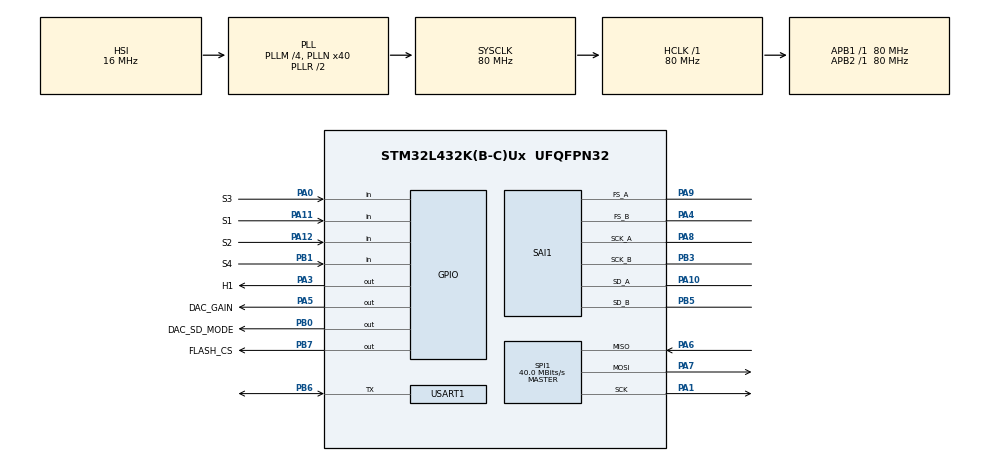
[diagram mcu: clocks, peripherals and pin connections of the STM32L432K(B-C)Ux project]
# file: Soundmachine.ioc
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Dma.Request0=SPI1_RX
Dma.Request1=SAI1_A
Dma.Request2=SAI1_B
Dma.Request3=SPI1_TX
Dma.SAI1_A.1.Direction=DMA_MEMORY_TO_PERIPH
Dma.SAI1_A.1.Instance=DMA2_Channel1
Dma.SAI1_A.1.MemDataAlignment=DMA_MDATAALIGN_WORD
Dma.SAI1_A.1.MemInc=DMA_MINC_ENABLE
Dma.SAI1_A.1.Mode=DMA_NORMAL
Dma.SAI1_A.1.PeriphDataAlignment=DMA_PDATAALIGN_WORD
Dma.SAI1_A.1.PeriphInc=DMA_PINC_DISABLE
Dma.SAI1_A.1.Priority=DMA_PRIORITY_LOW
Dma.SAI1_B.2.Direction=DMA_MEMORY_TO_PERIPH
Dma.SAI1_B.2.Instance=DMA2_Channel2
Dma.SAI1_B.2.MemDataAlignment=DMA_MDATAALIGN_WORD
Dma.SAI1_B.2.MemInc=DMA_MINC_ENABLE
Dma.SAI1_B.2.Mode=DMA_NORMAL
Dma.SAI1_B.2.PeriphDataAlignment=DMA_PDATAALIGN_WORD
Dma.SAI1_B.2.PeriphInc=DMA_PINC_DISABLE
Dma.SAI1_B.2.Priority=DMA_PRIORITY_LOW
Dma.SPI1_RX.0.Direction=DMA_PERIPH_TO_MEMORY
Dma.SPI1_RX.0.Instance=DMA1_Channel2
Dma.SPI1_RX.0.MemDataAlignment=DMA_MDATAALIGN_BYTE
Dma.SPI1_RX.0.MemInc=DMA_MINC_ENABLE
Dma.SPI1_RX.0.Mode=DMA_NORMAL
Dma.SPI1_RX.0.PeriphDataAlignment=DMA_PDATAALIGN_BYTE
Dma.SPI1_RX.0.PeriphInc=DMA_PINC_DISABLE
Dma.SPI1_RX.0.Priority=DMA_PRIORITY_LOW
Dma.SPI1_TX.3.Direction=DMA_MEMORY_TO_PERIPH
Dma.SPI1_TX.3.Instance=DMA1_Channel3
Dma.SPI1_TX.3.MemDataAlignment=DMA_MDATAALIGN_BYTE
Dma.SPI1_TX.3.MemInc=DMA_MINC_ENABLE
Dma.SPI1_TX.3.Mode=DMA_NORMAL
Dma.SPI1_TX.3.PeriphDataAlignment=DMA_PDATAALIGN_BYTE
Dma.SPI1_TX.3.PeriphInc=DMA_PINC_DISABLE
Dma.SPI1_TX.3.Priority=DMA_PRIORITY_LOW
Mcu.Family=STM32L4
Mcu.Name=STM32L432K(B-C)Ux
Mcu.Package=UFQFPN32
NVIC.DMA1_Channel2_IRQn=true\:0\:0\:false\:false\:true\:false\:true
NVIC.DMA1_Channel3_IRQn=true\:0\:0\:false\:false\:true\:false\:true
NVIC.DMA2_Channel1_IRQn=true\:0\:0\:false\:false\:true\:false\:true
NVIC.DMA2_Channel2_IRQn=true\:0\:0\:false\:false\:true\:false\:true
NVIC.PriorityGroup=NVIC_PRIORITYGROUP_4
NVIC.TIM2_IRQn=true\:0\:0\:false\:false\:true\:true\:true
PA0.GPIO_Label=S3
PA0.Signal=GPIO_Input
PA1.Mode=Full_Duplex_Master
PA1.Signal=SPI1_SCK
PA10.Mode=SAI_A_Master
PA10.Signal=SAI1_SD_A
PA11.GPIO_Label=S1
PA11.Signal=GPIO_Input
PA12.GPIO_Label=S2
PA12.Signal=GPIO_Input
PA13\ (JTMS-SWDIO).GPIO_Label=SWDIO
PA13\ (JTMS-SWDIO).Mode=Serial_Wire
PA13\ (JTMS-SWDIO).Signal=SYS_JTMS-SWDIO
PA14\ (JTCK-SWCLK).GPIO_Label=SWCLK
PA14\ (JTCK-SWCLK).Mode=Serial_Wire
PA14\ (JTCK-SWCLK).Signal=SYS_JTCK-SWCLK
PA2.Mode=SYS_WakeUp3
PA2.Signal=SYS_WKUP4
PA3.GPIO_Label=H1
PA3.Signal=GPIO_Output
PA4.Mode=SAI_B_Master
PA4.Signal=SAI1_FS_B
PA5.GPIO_Label=DAC_GAIN
PA5.Signal=GPIO_Output
PA6.Mode=Full_Duplex_Master
PA6.Signal=SPI1_MISO
PA7.Mode=Full_Duplex_Master
PA7.Signal=SPI1_MOSI
PA8.Mode=SAI_A_Master
PA8.Signal=SAI1_SCK_A
PA9.Mode=SAI_A_Master
PA9.Signal=SAI1_FS_A
PB0.GPIO_Label=DAC_SD_MODE
PB0.Signal=GPIO_Output
PB1.GPIO_Label=S4
PB1.Signal=GPIO_Input
PB3\ (JTDO-TRACESWO).Mode=SAI_B_Master
PB3\ (JTDO-TRACESWO).Signal=SAI1_SCK_B
PB5.Mode=SAI_B_Master
PB5.Signal=SAI1_SD_B
PB6.Mode=Half_duplex(single_wire_mode)
PB6.Signal=USART1_TX
PB7.GPIO_Label=FLASH_CS
PB7.Signal=GPIO_Output
ProjectManager.HeapSize=0x200
ProjectManager.StackSize=0x400
ProjectManager.TargetToolchain=MDK-ARM V5.27
RCC.ADCFreq_Value=82000000
RCC.AHBFreq_Value=80000000
RCC.APB1Freq_Value=80000000
RCC.APB1TimFreq_Value=80000000
RCC.APB2Freq_Value=80000000
RCC.APB2TimFreq_Value=80000000
RCC.CortexFreq_Value=80000000
RCC.HCLKFreq_Value=80000000
RCC.HSE_VALUE=12000000
RCC.HSI16_VALUE=16000000
RCC.HSI48_VALUE=48000000
RCC.HSI_VALUE=16000000
RCC.MSIClockRange=RCC_MSIRANGE_10
RCC.MSI_VALUE=32000000
RCC.PLLM=4
RCC.PLLMUL=RCC_PLLMUL_4
RCC.PLLN=40
RCC.PLLSAI1N=41
RCC.PLLSAI1P=RCC_PLLP_DIV4
RCC.PLLSourceVirtual=RCC_PLLSOURCE_HSI
RCC.SYSCLKFreq_VALUE=80000000
RCC.SYSCLKSource=RCC_SYSCLKSOURCE_PLLCLK
RCC.USBFreq_Value=82000000
RCC.VCOOutputFreq_Value=160000000
SAI1.AudioFrequency-SAI_A_Master=SAI_AUDIO_FREQUENCY_32K
SAI1.ErrorAudioFreq-SAI_A_Master=25.12 %
SAI1.ErrorAudioFreq-SAI_B_Master=-16.58 %
SAI1.InitProtocol-SAI_A_Master=Enable
SAI1.InitProtocol-SAI_B_Master=Enable
SAI1.Instance-SAI_A_Master=SAI$Index_Block_A
SAI1.Instance-SAI_B_Master=SAI$Index_Block_B
SAI1.MClockEnable-SAI_A_Master=SAI_MASTERCLOCK_DISABLE
SAI1.MClockEnable-SAI_B_Master=SAI_MASTERCLOCK_DISABLE
SAI1.RealAudioFreq-SAI_A_Master=40.039 KHz
SAI1.RealAudioFreq-SAI_B_Master=160.156 KHz
SAI1.VirtualMode-SAI_A_Master=VM_MASTER
SAI1.VirtualMode-SAI_B_Master=VM_MASTER
SAI1.VirtualProtocol-SAI_A_BASIC=VM_BASIC_PROTOCOL
SAI1.VirtualProtocol-SAI_B_BASIC=VM_BASIC_PROTOCOL
SPI1.CalculateBaudRate=40.0 MBits/s
SPI1.Direction=SPI_DIRECTION_2LINES
SPI1.Mode=SPI_MODE_MASTER
SPI1.VirtualType=VM_MASTER
TIM2.Period=1000
USART1.VirtualMode-Half_duplex(single_wire_mode)=VM_ASYNC
VP_CRC_VS_CRC.Mode=CRC_Activate
VP_SAI1_VP_$IpInstance_SAIA_SAI_BASIC.Mode=SAI_A_BASIC
VP_SAI1_VP_$IpInstance_SAIB_SAI_BASIC.Mode=SAI_B_BASIC
VP_TIM2_VS_ClockSourceINT.Mode=Internal
board=NUCLEO-L432KC

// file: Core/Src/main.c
/* USER CODE BEGIN Header */
/**
  ******************************************************************************
  * @file           : main.c
  * @brief          : Main program body
  ******************************************************************************
  * @attention
  *
  * <h2><center>&copy; Copyright (c) 2021 STMicroelectronics.
  * All rights reserved.</center></h2>
  *
  * This software component is licensed by ST under BSD 3-Clause license,
  * the "License"; You may not use this file except in compliance with the
  * License. You may obtain a copy of the License at:
  *                        opensource.org/licenses/BSD-3-Clause
  *
  ******************************************************************************
  */
/* USER CODE END Header */
#include "main.h"

/* USER CODE BEGIN Includes */
#include "audio.h"
#include "flash.h"
#include "pdm2pcm_glo.h"
/* USER CODE END Includes */

CRC_HandleTypeDef hcrc;

SAI_HandleTypeDef hsai_BlockA1;
SAI_HandleTypeDef hsai_BlockB1;
DMA_HandleTypeDef hdma_sai1_a;
DMA_HandleTypeDef hdma_sai1_b;

SPI_HandleTypeDef hspi1;
DMA_HandleTypeDef hdma_spi1_rx;
DMA_HandleTypeDef hdma_spi1_tx;

TIM_HandleTypeDef htim2;

UART_HandleTypeDef huart1;

/* USER CODE BEGIN PV */
//record
uint8_t pdmbuffer[PDMBUFFERSIZE];
uint8_t pdmtestbuffer[PDMBUFFERSIZE];
uint16_t pcmbuffer[PCMBUFFERSIZE];
uint8_t PDMBufferReady;
uint8_t PDMReadyBufferIndex;
uint8_t PCMBufferReady;
uint8_t PCMReadyBufferIndex;
PDM_Filter_Handler_t FilterHandler;
uint8_t MicWokeUp;

//flash
uint8_t FlashWriteBuffer[2*FLASHPAGESIZE]; //pseudo double buffer
uint32_t FlashWriteBufferIndex;
uint8_t WriteDoubleBufferIndex;
uint8_t FlashReadBuffer[2*FLASHPAGESIZE]; //pseudo double buffer
uint16_t FlashReadBufferIndex;
uint8_t ReadDoubleBufferIndex;
/* USER CODE END PV */

void SystemClock_Config(void);
static void MX_GPIO_Init(void);
static void MX_DMA_Init(void);
static void MX_SAI1_Init(void);
static void MX_TIM2_Init(void);
static void MX_SPI1_Init(void);
static void MX_CRC_Init(void);
static void MX_USART1_UART_Init(void);

int main(void)
{

  /* MCU Configuration--------------------------------------------------------*/

  /* Reset of all peripherals, Initializes the Flash interface and the Systick. */
  HAL_Init();

  /* USER CODE BEGIN Init */
	uint8_t ChannelIndex = 1;

  /* USER CODE END Init */

  /* Configure the system clock */
  SystemClock_Config();

  /* Initialize all configured peripherals */
  MX_GPIO_Init();
  MX_DMA_Init();
  MX_SAI1_Init();
  MX_TIM2_Init();
  MX_SPI1_Init();
  MX_CRC_Init();
  MX_USART1_UART_Init();
  /* USER CODE BEGIN 2 */
	//Init Flash-Pins
	HAL_GPIO_WritePin(FLASH_CS_GPIO_Port, FLASH_CS_Pin, GPIO_PIN_SET);

	//FlashTest();

  /* USER CODE END 2 */

  /* Infinite loop */
  while (1)
  {

    /* USER CODE BEGIN 3 */
		AudioRecord(ChannelIndex);

		HAL_Delay(1000);

		//SendAudioData(ChannelIndex);
		AudioPlay(ChannelIndex);

		HAL_Delay(1000);

		ChannelIndex++;

		if (ChannelIndex >= 5){
			ChannelIndex = 1;
		}
  }
  /* USER CODE END 3 */
}

void SystemClock_Config(void)
{
  RCC_OscInitTypeDef RCC_OscInitStruct = {0};
  RCC_ClkInitTypeDef RCC_ClkInitStruct = {0};
  RCC_PeriphCLKInitTypeDef PeriphClkInit = {0};

  /** Initializes the RCC Oscillators according to the specified parameters
  * in the RCC_OscInitTypeDef structure.
  */
  RCC_OscInitStruct.OscillatorType = RCC_OSCILLATORTYPE_HSI;
  RCC_OscInitStruct.HSIState = RCC_HSI_ON;
  RCC_OscInitStruct.HSICalibrationValue = RCC_HSICALIBRATION_DEFAULT;
  RCC_OscInitStruct.PLL.PLLState = RCC_PLL_ON;
  RCC_OscInitStruct.PLL.PLLSource = RCC_PLLSOURCE_HSI;
  RCC_OscInitStruct.PLL.PLLM = 4;
  RCC_OscInitStruct.PLL.PLLN = 40;
  RCC_OscInitStruct.PLL.PLLP = RCC_PLLP_DIV7;
  RCC_OscInitStruct.PLL.PLLQ = RCC_PLLQ_DIV2;
  RCC_OscInitStruct.PLL.PLLR = RCC_PLLR_DIV2;
  if (HAL_RCC_OscConfig(&RCC_OscInitStruct) != HAL_OK)
  {
    Error_Handler();
  }
  /** Initializes the CPU, AHB and APB buses clocks
  */
  RCC_ClkInitStruct.ClockType = RCC_CLOCKTYPE_HCLK|RCC_CLOCKTYPE_SYSCLK
                              |RCC_CLOCKTYPE_PCLK1|RCC_CLOCKTYPE_PCLK2;
  RCC_ClkInitStruct.SYSCLKSource = RCC_SYSCLKSOURCE_PLLCLK;
  RCC_ClkInitStruct.AHBCLKDivider = RCC_SYSCLK_DIV1;
  RCC_ClkInitStruct.APB1CLKDivider = RCC_HCLK_DIV1;
  RCC_ClkInitStruct.APB2CLKDivider = RCC_HCLK_DIV1;

  if (HAL_RCC_ClockConfig(&RCC_ClkInitStruct, FLASH_LATENCY_4) != HAL_OK)
  {
    Error_Handler();
  }
  PeriphClkInit.PeriphClockSelection = RCC_PERIPHCLK_USART1|RCC_PERIPHCLK_SAI1;
  PeriphClkInit.Usart1ClockSelection = RCC_USART1CLKSOURCE_PCLK2;
  PeriphClkInit.Sai1ClockSelection = RCC_SAI1CLKSOURCE_PLLSAI1;
  PeriphClkInit.PLLSAI1.PLLSAI1Source = RCC_PLLSOURCE_HSI;
  PeriphClkInit.PLLSAI1.PLLSAI1M = 4;
  PeriphClkInit.PLLSAI1.PLLSAI1N = 41;
  PeriphClkInit.PLLSAI1.PLLSAI1P = RCC_PLLP_DIV4;
  PeriphClkInit.PLLSAI1.PLLSAI1Q = RCC_PLLQ_DIV2;
  PeriphClkInit.PLLSAI1.PLLSAI1R = RCC_PLLR_DIV2;
  PeriphClkInit.PLLSAI1.PLLSAI1ClockOut = RCC_PLLSAI1_SAI1CLK;
  if (HAL_RCCEx_PeriphCLKConfig(&PeriphClkInit) != HAL_OK)
  {
    Error_Handler();
  }
  /** Configure the main internal regulator output voltage
  */
  if (HAL_PWREx_ControlVoltageScaling(PWR_REGULATOR_VOLTAGE_SCALE1) != HAL_OK)
  {
    Error_Handler();
  }
}

static void MX_CRC_Init(void)
{

  hcrc.Instance = CRC;
  hcrc.Init.DefaultPolynomialUse = DEFAULT_POLYNOMIAL_ENABLE;
  hcrc.Init.DefaultInitValueUse = DEFAULT_INIT_VALUE_ENABLE;
  hcrc.Init.InputDataInversionMode = CRC_INPUTDATA_INVERSION_NONE;
  hcrc.Init.OutputDataInversionMode = CRC_OUTPUTDATA_INVERSION_DISABLE;
  hcrc.InputDataFormat = CRC_INPUTDATA_FORMAT_BYTES;
  if (HAL_CRC_Init(&hcrc) != HAL_OK)
  {
    Error_Handler();
  }

}

static void MX_SAI1_Init(void)
{

  hsai_BlockA1.Instance = SAI1_Block_A;
  hsai_BlockA1.Init.AudioMode = SAI_MODEMASTER_TX;
  hsai_BlockA1.Init.Synchro = SAI_ASYNCHRONOUS;
  hsai_BlockA1.Init.OutputDrive = SAI_OUTPUTDRIVE_DISABLE;
  hsai_BlockA1.Init.NoDivider = SAI_MASTERDIVIDER_ENABLE;
  hsai_BlockA1.Init.FIFOThreshold = SAI_FIFOTHRESHOLD_EMPTY;
  hsai_BlockA1.Init.AudioFrequency = SAI_AUDIO_FREQUENCY_32K;
  hsai_BlockA1.Init.SynchroExt = SAI_SYNCEXT_DISABLE;
  hsai_BlockA1.Init.MonoStereoMode = SAI_STEREOMODE;
  hsai_BlockA1.Init.CompandingMode = SAI_NOCOMPANDING;
  hsai_BlockA1.Init.TriState = SAI_OUTPUT_NOTRELEASED;
  if (HAL_SAI_InitProtocol(&hsai_BlockA1, SAI_I2S_STANDARD, SAI_PROTOCOL_DATASIZE_16BIT, 2) != HAL_OK)
  {
    Error_Handler();
  }
  hsai_BlockB1.Instance = SAI1_Block_B;
  hsai_BlockB1.Init.AudioMode = SAI_MODEMASTER_TX;
  hsai_BlockB1.Init.Synchro = SAI_ASYNCHRONOUS;
  hsai_BlockB1.Init.OutputDrive = SAI_OUTPUTDRIVE_DISABLE;
  hsai_BlockB1.Init.NoDivider = SAI_MASTERDIVIDER_ENABLE;
  hsai_BlockB1.Init.FIFOThreshold = SAI_FIFOTHRESHOLD_EMPTY;
  hsai_BlockB1.Init.AudioFrequency = SAI_AUDIO_FREQUENCY_192K;
  hsai_BlockB1.Init.SynchroExt = SAI_SYNCEXT_DISABLE;
  hsai_BlockB1.Init.MonoStereoMode = SAI_STEREOMODE;
  hsai_BlockB1.Init.CompandingMode = SAI_NOCOMPANDING;
  hsai_BlockB1.Init.TriState = SAI_OUTPUT_NOTRELEASED;
  if (HAL_SAI_InitProtocol(&hsai_BlockB1, SAI_I2S_STANDARD, SAI_PROTOCOL_DATASIZE_16BIT, 2) != HAL_OK)
  {
    Error_Handler();
  }

}

static void MX_SPI1_Init(void)
{

  /* SPI1 parameter configuration*/
  hspi1.Instance = SPI1;
  hspi1.Init.Mode = SPI_MODE_MASTER;
  hspi1.Init.Direction = SPI_DIRECTION_2LINES;
  hspi1.Init.DataSize = SPI_DATASIZE_4BIT;
  hspi1.Init.CLKPolarity = SPI_POLARITY_LOW;
  hspi1.Init.CLKPhase = SPI_PHASE_1EDGE;
  hspi1.Init.NSS = SPI_NSS_SOFT;
  hspi1.Init.BaudRatePrescaler = SPI_BAUDRATEPRESCALER_2;
  hspi1.Init.FirstBit = SPI_FIRSTBIT_MSB;
  hspi1.Init.TIMode = SPI_TIMODE_DISABLE;
  hspi1.Init.CRCCalculation = SPI_CRCCALCULATION_DISABLE;
  hspi1.Init.CRCPolynomial = 7;
  hspi1.Init.CRCLength = SPI_CRC_LENGTH_DATASIZE;
  hspi1.Init.NSSPMode = SPI_NSS_PULSE_ENABLE;
  if (HAL_SPI_Init(&hspi1) != HAL_OK)
  {
    Error_Handler();
  }

}

static void MX_TIM2_Init(void)
{

  TIM_ClockConfigTypeDef sClockSourceConfig = {0};
  TIM_MasterConfigTypeDef sMasterConfig = {0};

  htim2.Instance = TIM2;
  htim2.Init.Prescaler = 0;
  htim2.Init.CounterMode = TIM_COUNTERMODE_UP;
  htim2.Init.Period = 1000;
  htim2.Init.ClockDivision = TIM_CLOCKDIVISION_DIV1;
  htim2.Init.AutoReloadPreload = TIM_AUTORELOAD_PRELOAD_DISABLE;
  if (HAL_TIM_Base_Init(&htim2) != HAL_OK)
  {
    Error_Handler();
  }
  sClockSourceConfig.ClockSource = TIM_CLOCKSOURCE_INTERNAL;
  if (HAL_TIM_ConfigClockSource(&htim2, &sClockSourceConfig) != HAL_OK)
  {
    Error_Handler();
  }
  sMasterConfig.MasterOutputTrigger = TIM_TRGO_RESET;
  sMasterConfig.MasterSlaveMode = TIM_MASTERSLAVEMODE_DISABLE;
  if (HAL_TIMEx_MasterConfigSynchronization(&htim2, &sMasterConfig) != HAL_OK)
  {
    Error_Handler();
  }

}

static void MX_USART1_UART_Init(void)
{

  huart1.Instance = USART1;
  huart1.Init.BaudRate = 115200;
  huart1.Init.WordLength = UART_WORDLENGTH_8B;
  huart1.Init.StopBits = UART_STOPBITS_1;
  huart1.Init.Parity = UART_PARITY_NONE;
  huart1.Init.Mode = UART_MODE_TX_RX;
  huart1.Init.HwFlowCtl = UART_HWCONTROL_NONE;
  huart1.Init.OverSampling = UART_OVERSAMPLING_16;
  huart1.Init.OneBitSampling = UART_ONE_BIT_SAMPLE_DISABLE;
  huart1.AdvancedInit.AdvFeatureInit = UART_ADVFEATURE_NO_INIT;
  if (HAL_HalfDuplex_Init(&huart1) != HAL_OK)
  {
    Error_Handler();
  }

}

static void MX_DMA_Init(void)
{

  /* DMA controller clock enable */
  __HAL_RCC_DMA1_CLK_ENABLE();
  __HAL_RCC_DMA2_CLK_ENABLE();

  /* DMA interrupt init */
  /* DMA1_Channel2_IRQn interrupt configuration */
  HAL_NVIC_SetPriority(DMA1_Channel2_IRQn, 0, 0);
  HAL_NVIC_EnableIRQ(DMA1_Channel2_IRQn);
  /* DMA1_Channel3_IRQn interrupt configuration */
  HAL_NVIC_SetPriority(DMA1_Channel3_IRQn, 0, 0);
  HAL_NVIC_EnableIRQ(DMA1_Channel3_IRQn);
  /* DMA2_Channel1_IRQn interrupt configuration */
  HAL_NVIC_SetPriority(DMA2_Channel1_IRQn, 0, 0);
  HAL_NVIC_EnableIRQ(DMA2_Channel1_IRQn);
  /* DMA2_Channel2_IRQn interrupt configuration */
  HAL_NVIC_SetPriority(DMA2_Channel2_IRQn, 0, 0);
  HAL_NVIC_EnableIRQ(DMA2_Channel2_IRQn);

}

static void MX_GPIO_Init(void)
{
  GPIO_InitTypeDef GPIO_InitStruct = {0};

  /* GPIO Ports Clock Enable */
  __HAL_RCC_GPIOA_CLK_ENABLE();
  __HAL_RCC_GPIOB_CLK_ENABLE();

  /*Configure GPIO pin Output Level */
  HAL_GPIO_WritePin(GPIOA, H1_Pin|DAC_GAIN_Pin, GPIO_PIN_RESET);

  /*Configure GPIO pin Output Level */
  HAL_GPIO_WritePin(GPIOB, DAC_SD_MODE_Pin|FLASH_CS_Pin, GPIO_PIN_RESET);

  /*Configure GPIO pins : S3_Pin S1_Pin S2_Pin */
  GPIO_InitStruct.Pin = S3_Pin|S1_Pin|S2_Pin;
  GPIO_InitStruct.Mode = GPIO_MODE_INPUT;
  GPIO_InitStruct.Pull = GPIO_NOPULL;
  HAL_GPIO_Init(GPIOA, &GPIO_InitStruct);

  /*Configure GPIO pins : H1_Pin DAC_GAIN_Pin */
  GPIO_InitStruct.Pin = H1_Pin|DAC_GAIN_Pin;
  GPIO_InitStruct.Mode = GPIO_MODE_OUTPUT_PP;
  GPIO_InitStruct.Pull = GPIO_NOPULL;
  GPIO_InitStruct.Speed = GPIO_SPEED_FREQ_LOW;
  HAL_GPIO_Init(GPIOA, &GPIO_InitStruct);

  /*Configure GPIO pins : DAC_SD_MODE_Pin FLASH_CS_Pin */
  GPIO_InitStruct.Pin = DAC_SD_MODE_Pin|FLASH_CS_Pin;
  GPIO_InitStruct.Mode = GPIO_MODE_OUTPUT_PP;
  GPIO_InitStruct.Pull = GPIO_NOPULL;
  GPIO_InitStruct.Speed = GPIO_SPEED_FREQ_LOW;
  HAL_GPIO_Init(GPIOB, &GPIO_InitStruct);

  /*Configure GPIO pin : S4_Pin */
  GPIO_InitStruct.Pin = S4_Pin;
  GPIO_InitStruct.Mode = GPIO_MODE_INPUT;
  GPIO_InitStruct.Pull = GPIO_NOPULL;
  HAL_GPIO_Init(S4_GPIO_Port, &GPIO_InitStruct);

}

void Error_Handler(void)
{
  __disable_irq();
  while (1)
  {
  }
}

/************************ (C) COPYRIGHT STMicroelectronics *****END OF FILE****/
